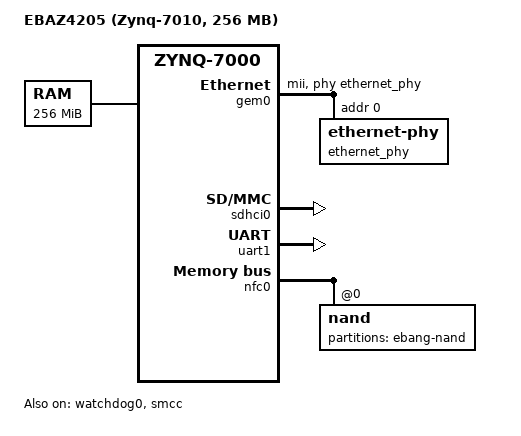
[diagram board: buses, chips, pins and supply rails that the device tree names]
// SPDX-License-Identifier: GPL-2.0
/*
 * EBAZ4205 (ex Ebang miner control board): Zynq XC7Z010-CLG400, 256 MB DDR3, for Ardzy.
 * Clean base device tree: only the ARM side (PS); FPGA designs add their own devices at runtime with
 * device-tree overlays applied to the fpga_full region (like the Antminer S9 tree).
 * Based on Linux's zynq-ebaz4205.dts (Michael Walle) and KeitetsuWorks/EBAZ4205.
 *
 * The Ethernet PHY (IP101GA, MII) is wired to FPGA pins: the GEM reaches it over EMIO, so the network
 * only works while an FPGA design with the Ethernet connection is loaded. U-Boot loads the Ardzy base
 * design (base.bit) before Linux starts, and every design the Ardzy app builds for this board keeps it.
 * The PHY's 25 MHz clock is FCLK3 (pin U18), for the boards without their own crystal.
 */
/dts-v1/;
#include "zynq-7000.dtsi"

/ {
	model = "EBAZ4205 (Zynq-7010, 256 MB)";
	compatible = "ebang,ebaz4205", "xlnx,zynq-7000";

	aliases {
		ethernet0 = &gem0;
		serial0 = &uart1;
		mmc0 = &sdhci0;
		gpio0 = &gpio0;
	};

	memory@0 {
		device_type = "memory";
		reg = <0x0 0x10000000>;
	};

	chosen {
		bootargs = "console=ttyPS0,115200 root=/dev/mmcblk0p2 rw rootwait earlycon";
		stdout-path = "serial0:115200n8";
	};
};

&clkc {
	ps-clk-frequency = <33333333>;
	/* keep FCLK0..3 running: FCLK0 for FPGA designs, FCLK3 = the PHY clock */
	fclk-enable = <0xf>;
	assigned-clocks = <&clkc 15>, <&clkc 18>;
	assigned-clock-rates = <100000000>, <25000000>;
};

&gem0 {
	status = "okay";
	phy-mode = "mii";
	phy-handle = <&ethernet_phy>;

	ethernet_phy: ethernet-phy@0 {
		reg = <0>;
	};
};

&sdhci0 {
	status = "okay";
	disable-wp;
};

&uart1 {
	status = "okay";
};

&gpio0 {
	status = "okay";
};

&watchdog0 {
	status = "okay";
	reset-on-timeout;
	timeout-sec = <60>;
};

/* On-board NAND (128 MB) with the original Ebang firmware: ONE READ-ONLY partition (inspect and back up,
 * never written), and no on-flash bad block table (the kernel only reads the factory markers). */
&smcc {
	status = "okay";
};

&nfc0 {
	status = "okay";
	nand@0 {
		reg = <0>;
		partitions {
			compatible = "fixed-partitions";
			#address-cells = <1>;
			#size-cells = <1>;
			partition@0 {
				label = "ebang-nand";
				reg = <0x0 0x8000000>;
				read-only;
			};
		};
	};
};
